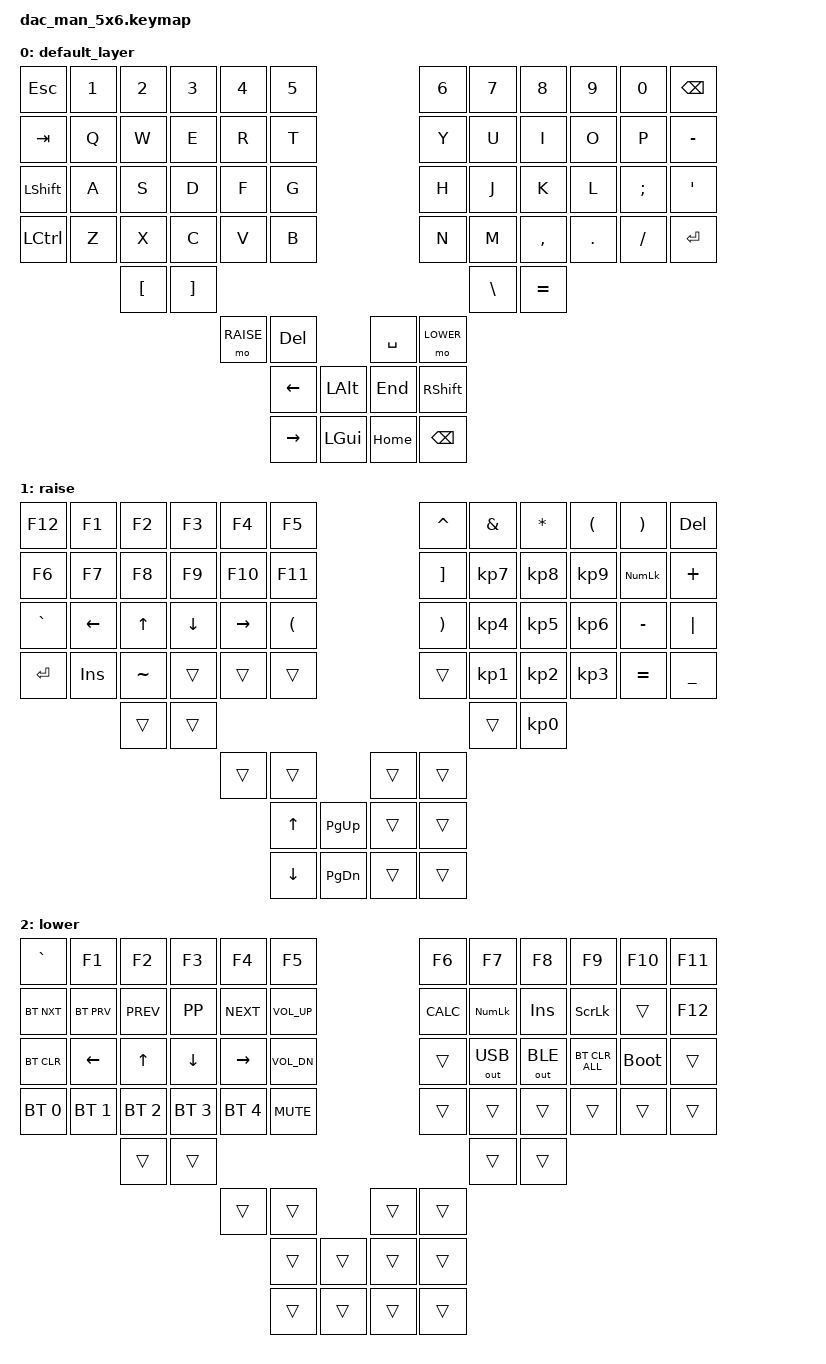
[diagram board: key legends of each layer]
#include <behaviors.dtsi>
#include <dt-bindings/zmk/keys.h>
#include <dt-bindings/zmk/bt.h>
#include <dt-bindings/zmk/outputs.h>

#define DEFAULT 0
#define RAISE   1
#define LOWER   2

/ {
    keymap {
        compatible = "zmk,keymap";

        default_layer {
// -------------------------------------------------------------------------------------------------------------------------
// |   ESC   |    1    |    2    |    3    |    4    |    5    |                   |    6    |    7    |    8    |    9    |    0    |  BSPC   |
// |   TAB   |    Q    |    W    |    E    |    R    |    T    |                   |    Y    |    U    |    I    |    O    |    P    |    -    |
// |  LSFT   |    A    |    S    |    D    |    F    |    G    |                   |    H    |    J    |    K    |    L    |    ;    |    '    |
// |  LCTL   |    Z    |    X    |    C    |    V    |    B    |                   |    N    |    M    |    ,    |    .    |    /    | ENTER   |
//                     |    [    |    ]    |                                                           |    \    |    =    |
//                               |  RAISE  |  DEL    |                   |  SPC    |  LOWER  |
//                                         |  LEFT   |  LALT   |   END   |  RSHFT  |
//                                         |  RIGHT  |  LGUI   |   HOME  |  BSPC   |
            bindings = <
&kp ESC    &kp N1     &kp N2    &kp N3     &kp N4     &kp N5                          &kp N6     &kp N7     &kp N8     &kp N9     &kp N0     &kp BSPC
&kp TAB    &kp Q      &kp W     &kp E      &kp R      &kp T                           &kp Y      &kp U      &kp I      &kp O      &kp P      &kp MINUS
&kp LSHFT  &kp A      &kp S     &kp D      &kp F      &kp G                           &kp H      &kp J      &kp K      &kp L      &kp SEMI   &kp SQT
&kp LCTRL  &kp Z      &kp X     &kp C      &kp V      &kp B                           &kp N      &kp M      &kp COMMA  &kp DOT    &kp FSLH   &kp ENTER
                      &kp LBKT  &kp RBKT                                                          &kp BSLH   &kp EQUAL
                                           &mo RAISE  &kp DEL                &kp SPACE   &mo LOWER
                                                       &kp LEFT  &kp LALT    &kp END     &kp RSHFT
                                                       &kp RIGHT &kp LGUI    &kp HOME    &kp BSPC
            >;
        };

        raise {
// Left half: QMK RAISE layer. Right half: QMK LOWER layer.
// -------------------------------------------------------------------------------------------------------------------------
// |   F12   |   F1    |   F2    |   F3    |   F4    |   F5    |                   |    ^    |    &    |    *    |    (    |    )    |  DEL    |
// |   F6    |   F7    |   F8    |   F9    |   F10   |   F11   |                   |    ]    |   P7    |   P8    |   P9    | NUMLCK  |    +    |
// |    `    |  LEFT   |   UP    |  DOWN   |  RIGHT  |    (    |                   |    )    |   P4    |   P5    |   P6    |    -    |    |    |
// |  ENTER  |  INS    |    ~    |         |         |         |                   |         |   P1    |   P2    |   P3    |    =    |    _    |
//                     |         |         |                                                           |         |   P0    |
//                               |         |         |                   |         |         |
//                                         |   UP    |  PGUP   |         |         |
//                                         |  DOWN   |  PGDN   |         |         |
            bindings = <
&kp F12    &kp F1     &kp F2     &kp F3     &kp F4     &kp F5                          &kp CARET  &kp AMPS   &kp STAR   &kp LPAR   &kp RPAR   &kp DEL
&kp F6     &kp F7     &kp F8     &kp F9     &kp F10    &kp F11                         &kp RBKT   &kp KP_N7  &kp KP_N8  &kp KP_N9  &kp KP_NUM &kp PLUS
&kp GRAVE  &kp LEFT   &kp UP     &kp DOWN   &kp RIGHT  &kp LPAR                        &kp RPAR   &kp KP_N4  &kp KP_N5  &kp KP_N6  &kp MINUS  &kp PIPE
&kp ENTER  &kp INS    &kp TILDE  &trans     &trans     &trans                          &trans     &kp KP_N1  &kp KP_N2  &kp KP_N3  &kp EQUAL  &kp UNDER
                       &trans     &trans                                                            &trans     &kp KP_N0
                                             &trans     &trans                          &trans     &trans
                                                        &kp UP   &kp PG_UP             &trans     &trans
                                                        &kp DOWN &kp PG_DN             &trans     &trans
            >;
        };

        lower {
// -------------------------------------------------------------------------------------------------------------------------
// |    `    |   F1    |   F2    |   F3    |   F4    |   F5    |                   |   F6    |   F7    |   F8    |   F9    |   F10   |  F11    |
// | BT_NXT  | BT_PRV  |  PREV   |  PLAY   |  NEXT   | VOL_UP  |                   |  CALC   | NUMLCK  |  INS    | SCRLCK  |         |  F12    |
// | BT_CLR  |  LEFT   |   UP    |  DOWN   |  RIGHT  | VOL_DN  |                   |         | OUT_USB | OUT_BLE | BTCLRALL| BOOTLDR |         |
// | BT_SEL0 | BT_SEL1 | BT_SEL2 | BT_SEL3 | BT_SEL4 |  MUTE  |                   |         |         |         |         |         |         |
            bindings = <
&kp GRAVE     &kp F1       &kp F2     &kp F3     &kp F4     &kp F5                      &kp F6     &kp F7     &kp F8     &kp F9     &kp F10     &kp F11
&bt BT_NXT    &bt BT_PRV   &kp K_PREV &kp K_PP   &kp K_NEXT &kp C_VOL_UP                &kp K_CALC &kp KP_NUM &kp INS    &kp SLCK   &trans      &kp F12
&bt BT_CLR    &kp LEFT     &kp UP     &kp DOWN   &kp RIGHT  &kp C_VOL_DN                &trans     &out OUT_USB &out OUT_BLE &bt BT_CLR_ALL &bootloader  &trans
&bt BT_SEL 0  &bt BT_SEL 1 &bt BT_SEL 2 &bt BT_SEL 3 &bt BT_SEL 4 &kp C_MUTE          &trans     &trans     &trans     &trans     &trans      &trans
                      &trans  &trans                                                              &trans     &trans
                                             &trans  &trans                 &trans   &trans
                                                      &trans &trans   &trans    &trans
                                                      &trans &trans   &trans    &trans
            >;
        };
   };
};
